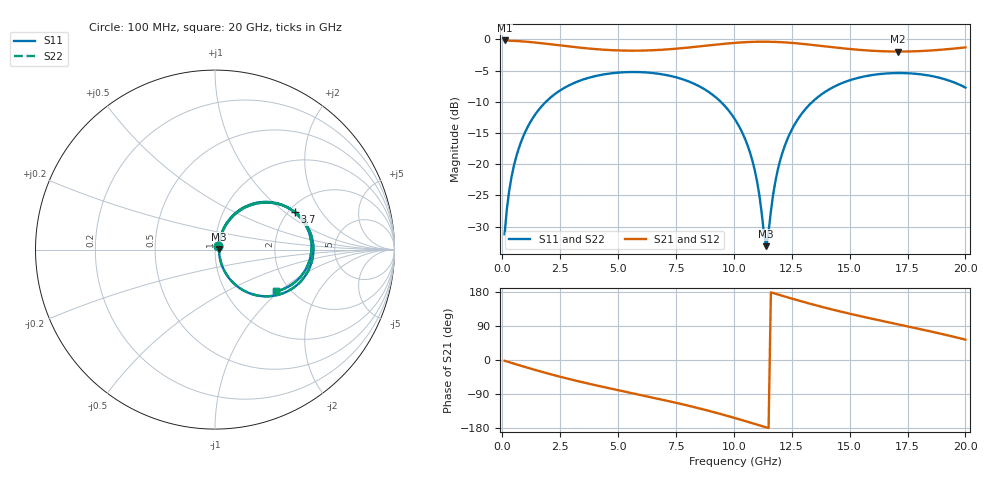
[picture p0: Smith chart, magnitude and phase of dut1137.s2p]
! Touchstone file exported from HFSS 2026.1.0
!  File:  C:/ffzhzh/LocalFiles/Ansys_Project_Files/temp_train_TSV_RDL_1137_1783308622_39728.aedt
!  Generated:  11:43:45 AM Jul  6, 2026
!  Design:  TSV_RDL
!  Project:  temp_train_TSV_RDL_1137_1783308622_39728
! Variables:
!  h_bsmrdl = 5.59um
!  h_ox = 20um
!  h_rdl = 5um
!  h_sub = 77.37um
!  h_tmrdl = 2.61um
!  h_tsv = 77.37um
!  h_via = 3um
!  l_bsmrdl = 943.26um
!  l_sub = 5386.92um
!  l_tmrdl = 498.38um
!  m_sub = 200um
!  pitch = 59.99um
!  r_tsv = 6.93um
!  s_tmrdl = 10um
!  w_bsmrdl = 26.81um
!  w_sub = 500um
!  w_tmrdl = 27.73um
!  x_tsv_center1 = 512.245um
!  x_tsv_center2 = 1482.315um
!  x_tsv_center3 = 2008.425um
!  x_tsv_center4 = 2978.495um
!  x_tsv_center5 = 3504.605um
!  x_tsv_center6 = 4474.675um
# GHz S MA R 50.000000
! Terminal data exported
! Port[1] = TM_RDL1_1_T1
! Port[2] = TM_RDL5_1_T1
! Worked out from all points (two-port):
!   200 points, 100 MHz to 20 GHz, reference 50 ohm
!   highest |S21| = -0.17 dB at 100 MHz (marker M1); lowest = -1.9 dB at 17.1 GHz (marker M2)
!   |S21| within 3 dB of the highest: start of sweep to end of sweep
!   lowest |S11| = -33.1 dB at 11.4 GHz (marker M3), VSWR 1.05, Z = 52.3 + j0.0819 ohm
!   |S11| at or under -10 dB: start of sweep to 1.882 GHz; 9.436 GHz to 13.39 GHz (3.956 GHz wide, 34.7 % of centre)
!   |S22| runs from -32.9 to -5.2 dB; largest |S21 - S12| = 1.7e-14
!   S11 on the Smith chart (normalised r, x): 100 MHz: 1.04, +0.04; 3.7 GHz: 2.15, +1.19; 20 GHz: 1.70, -0.95
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0.1  0.02753 45.0  0.981 -2.0  0.981 -2.0  0.02753 45.0
! Gamma 0 0 0 0
! Port Impedance 50 0 50 0
0.3  0.06168 64.6  0.9777 -5.8  0.9777 -5.8  0.06168 64.6
0.5  0.09699 67.5  0.9738 -9.6  0.9738 -9.6  0.09699 67.5
1.1  0.1997 62.7  0.9566 -20.6  0.9566 -20.6  0.1997 62.7
2.1  0.3443 48.1  0.9141 -37.8  0.9141 -37.8  0.3443 48.1
3.5  0.478 28.0  0.8535 -59.2  0.8535 -59.2  0.478 28.0
3.7  0.4909 25.3  0.8464 -62.0  0.8464 -62.0  0.4909 25.3
5.3  0.5465 4.7  0.8137 -83.5  0.8137 -83.5  0.5465 4.7
6.8  0.5291 -14.2  0.8243 -103.2  0.8243 -103.2  0.5291 -14.2
8.8  0.392 -41.6  0.8908 -132.2  0.8908 -132.2  0.392 -41.6
10.1  0.221 -60.4  0.9402 -154.1  0.9402 -154.1  0.221 -60.3
10.9  0.09008 -66.1  0.9571 -168.6  0.9571 -168.6  0.09015 -65.8
11.4  0.02208 2.0  0.9588 -177.8  0.9588 -177.8  0.02255 2.1
11.8  0.07407 66.1  0.9549 174.8  0.9549 174.8  0.07425 65.8
12.1  0.124 67.9  0.9491 169.3  0.9491 169.3  0.1242 67.6
12.6  0.2044 63.2  0.9346 160.4  0.9346 160.4  0.2045 63.0
13.4  0.3173 52.1  0.9032 146.7  0.9032 146.7  0.3174 52.0
14.9  0.4636 31.0  0.8415 123.6  0.8415 123.6  0.4636 30.9
16.7  0.5353 7.9  0.8013 99.2  0.8013 99.2  0.5353 7.9
17.1  0.538 3.0  0.7996 94.0  0.7996 94.0  0.538 2.9
18.5  0.5108 -14.5  0.8151 75.4  0.8151 75.4  0.5108 -14.6
20  0.4115 -34.3  0.8627 53.8  0.8627 53.8  0.4115 -34.4
